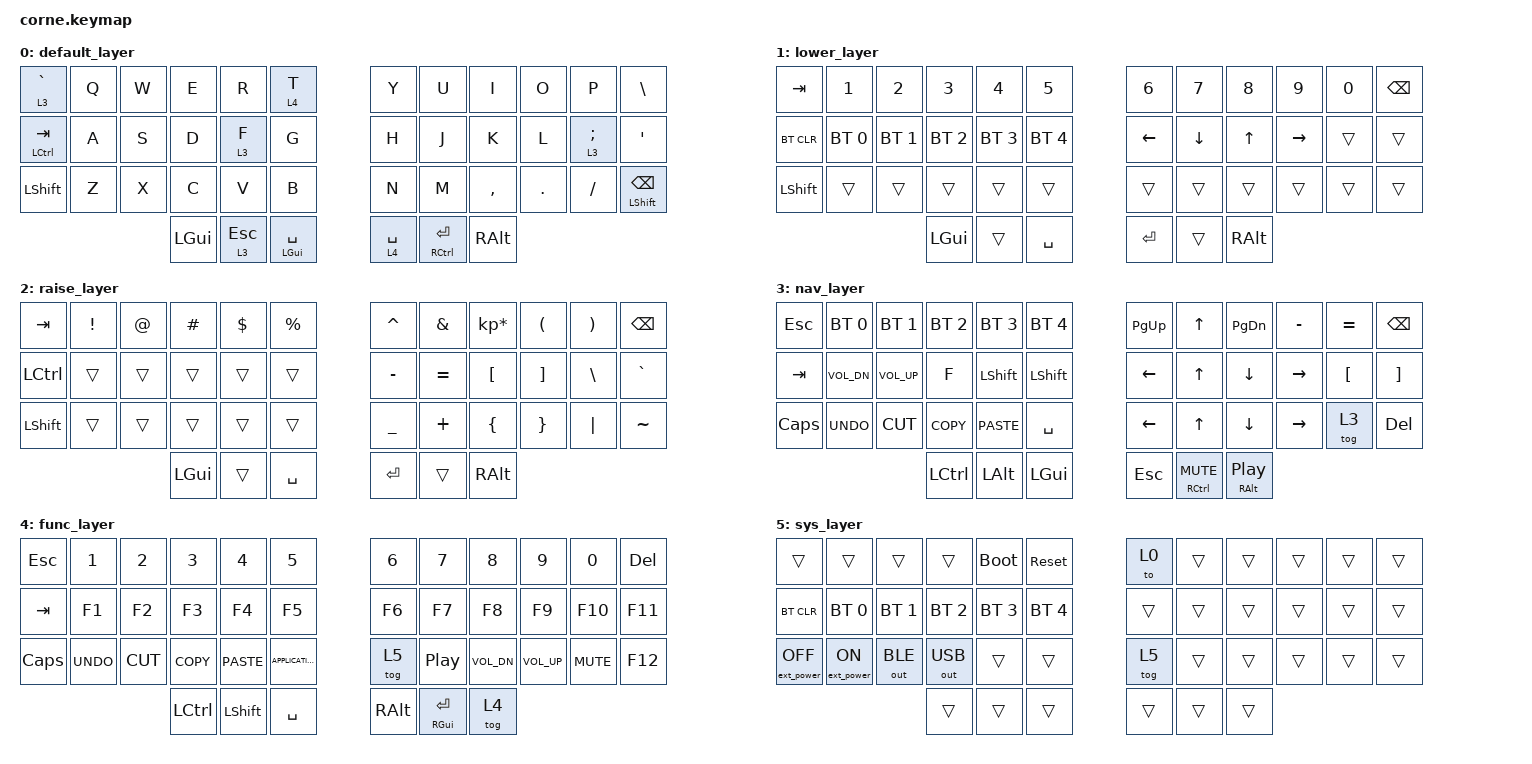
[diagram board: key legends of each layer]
/*
 * Copyright (c) 2020 The ZMK Contributors
 *
 * SPDX-License-Identifier: MIT
 */

#include <behaviors.dtsi>
#include <dt-bindings/zmk/bt.h>
#include <dt-bindings/zmk/ext_power.h>
#include <dt-bindings/zmk/keys.h>
#include <dt-bindings/zmk/outputs.h>

/ {
    keymap {
        compatible = "zmk,keymap";

        default_layer {
            bindings = <
&lt 3 GRAVE    &kp Q  &kp W  &kp E     &kp R         &lt 4 T               &kp Y        &kp U            &kp I      &kp O    &kp P       &kp BSLH
&mt LCTRL TAB  &kp A  &kp S  &kp D     &lt 3 F       &kp G                 &kp H        &kp J            &kp K      &kp L    &lt 3 SEMI  &kp SQT
&kp LSHFT      &kp Z  &kp X  &kp C     &kp V         &kp B                 &kp N        &kp M            &kp COMMA  &kp DOT  &kp FSLH    &mt LSHFT BSPC
                             &kp LGUI  &lt 3 ESCAPE  &mt LEFT_GUI SPACE    &lt 4 SPACE  &mt RCTRL ENTER  &kp RALT
            >;
        };

        lower_layer {
            bindings = <
&kp TAB     &kp N1        &kp N2        &kp N3        &kp N4        &kp N5          &kp N6    &kp N7    &kp N8    &kp N9     &kp N0  &kp BSPC
&bt BT_CLR  &bt BT_SEL 0  &bt BT_SEL 1  &bt BT_SEL 2  &bt BT_SEL 3  &bt BT_SEL 4    &kp LEFT  &kp DOWN  &kp UP    &kp RIGHT  &trans  &trans
&kp LSHFT   &trans        &trans        &trans        &trans        &trans          &trans    &trans    &trans    &trans     &trans  &trans
                                        &kp LGUI      &trans        &kp SPACE       &kp RET   &trans    &kp RALT
            >;
        };

        raise_layer {
            bindings = <
&kp TAB    &kp EXCL  &kp AT  &kp HASH  &kp DLLR  &kp PRCNT    &kp CARET  &kp AMPS   &kp KP_MULTIPLY  &kp LPAR  &kp RPAR  &kp BSPC
&kp LCTRL  &trans    &trans  &trans    &trans    &trans       &kp MINUS  &kp EQUAL  &kp LBKT         &kp RBKT  &kp BSLH  &kp GRAVE
&kp LSHFT  &trans    &trans  &trans    &trans    &trans       &kp UNDER  &kp PLUS   &kp LBRC         &kp RBRC  &kp PIPE  &kp TILDE
                             &kp LGUI  &trans    &kp SPACE    &kp RET    &trans     &kp RALT
            >;
        };

        nav_layer {
            bindings = <
&kp ESC   &bt BT_SEL 0  &bt BT_SEL 1     &bt BT_SEL 2  &bt BT_SEL 3  &bt BT_SEL 4      &kp PG_UP   &kp UP            &kp PAGE_DOWN               &kp MINUS  &kp EQUAL  &kp BSPC
&kp TAB   &kp C_VOL_DN  &kp C_VOLUME_UP  &kp F         &kp LSHFT     &kp LEFT_SHIFT    &kp LEFT    &kp UP            &kp DOWN                    &kp RIGHT  &kp LBKT   &kp RBKT
&kp CAPS  &kp K_UNDO    &kp K_CUT        &kp K_COPY    &kp K_PASTE   &kp SPACE         &kp LEFT    &kp UP            &kp DOWN                    &kp RIGHT  &tog 3     &kp DEL
                                         &kp LCTRL     &kp LALT      &kp LGUI          &kp ESCAPE  &mt RCTRL C_MUTE  &mt RIGHT_ALT C_PLAY_PAUSE
            >;
        };

        func_layer {
            bindings = <
&kp ESC   &kp N1      &kp N2     &kp N3      &kp N4          &kp N5               &kp N6    &kp N7               &kp N8        &kp N9           &kp N0      &kp DELETE
&kp TAB   &kp F1      &kp F2     &kp F3      &kp F4          &kp F5               &kp F6    &kp F7               &kp F8        &kp F9           &kp F10     &kp F11
&kp CAPS  &kp K_UNDO  &kp K_CUT  &kp K_COPY  &kp K_PASTE     &kp K_APPLICATION    &tog 5    &kp C_PLAY_PAUSE     &kp C_VOL_DN  &kp C_VOLUME_UP  &kp C_MUTE  &kp F12
                                 &kp LCTRL   &kp LEFT_SHIFT  &kp SPACE            &kp RALT  &mt RIGHT_GUI ENTER  &tog 4
            >;
        };

        sys_layer {
            bindings = <
&trans             &trans            &trans        &trans        &bootloader   &sys_reset      &to 0   &trans  &trans  &trans  &trans  &trans
&bt BT_CLR         &bt BT_SEL 0      &bt BT_SEL 1  &bt BT_SEL 2  &bt BT_SEL 3  &bt BT_SEL 4    &trans  &trans  &trans  &trans  &trans  &trans
&ext_power EP_OFF  &ext_power EP_ON  &out OUT_BLE  &out OUT_USB  &trans        &trans          &tog 5  &trans  &trans  &trans  &trans  &trans
                                                   &trans        &trans        &trans          &trans  &trans  &trans
            >;
        };
    };
};

